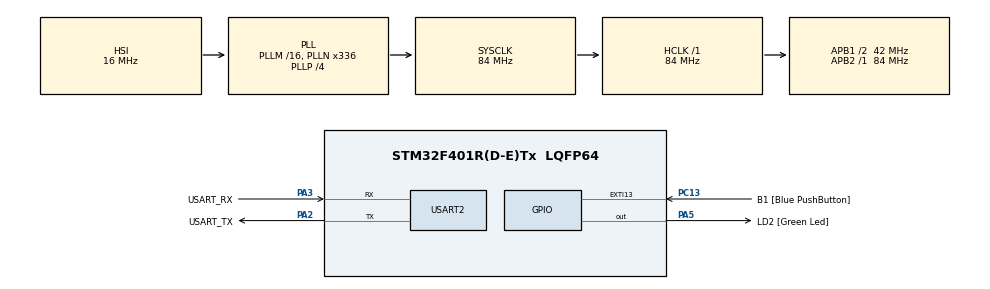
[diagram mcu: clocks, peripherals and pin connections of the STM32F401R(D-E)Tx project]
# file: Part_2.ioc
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Mcu.Family=STM32F4
Mcu.Name=STM32F401R(D-E)Tx
Mcu.Package=LQFP64
NVIC.EXTI15_10_IRQn=true\:0\:0\:false\:false\:true\:true\:true\:true
NVIC.PriorityGroup=NVIC_PRIORITYGROUP_0
NVIC.TIM1_UP_TIM10_IRQn=true\:0\:0\:false\:false\:true\:true\:true\:true
PA13.GPIO_Label=TMS
PA13.Mode=Serial_Wire
PA13.Signal=SYS_JTMS-SWDIO
PA14.GPIO_Label=TCK
PA14.Mode=Serial_Wire
PA14.Signal=SYS_JTCK-SWCLK
PA2.GPIO_Label=USART_TX
PA2.GPIO_Mode=GPIO_MODE_AF_PP
PA2.GPIO_PuPd=GPIO_NOPULL
PA2.GPIO_Speed=GPIO_SPEED_FREQ_LOW
PA2.Mode=Asynchronous
PA2.Signal=USART2_TX
PA3.GPIO_Label=USART_RX
PA3.GPIO_Mode=GPIO_MODE_AF_PP
PA3.GPIO_PuPd=GPIO_NOPULL
PA3.GPIO_Speed=GPIO_SPEED_FREQ_LOW
PA3.Mode=Asynchronous
PA3.Signal=USART2_RX
PA5.GPIO_Label=LD2 [Green Led]
PA5.GPIO_Mode=GPIO_MODE_OUTPUT_PP
PA5.GPIO_PuPd=GPIO_NOPULL
PA5.GPIO_Speed=GPIO_SPEED_FREQ_LOW
PA5.Signal=GPIO_Output
PB3.GPIO_Label=SWO
PB3.Signal=SYS_JTDO-SWO
PC13-ANTI_TAMP.GPIO_Label=B1 [Blue PushButton]
PC13-ANTI_TAMP.GPIO_ModeDefaultEXTI=GPIO_MODE_IT_FALLING
PC13-ANTI_TAMP.GPIO_PuPd=GPIO_NOPULL
PC13-ANTI_TAMP.Signal=GPXTI13
PC14-OSC32_IN.Mode=LSE-External-Oscillator
PC14-OSC32_IN.Signal=RCC_OSC32_IN
PC15-OSC32_OUT.Mode=LSE-External-Oscillator
PC15-OSC32_OUT.Signal=RCC_OSC32_OUT
PH0\ -\ OSC_IN.Mode=HSE-External-Clock-Source
PH0\ -\ OSC_IN.Signal=RCC_OSC_IN
PH1\ -\ OSC_OUT.Mode=HSE-External-Clock-Source
PH1\ -\ OSC_OUT.Signal=RCC_OSC_OUT
ProjectManager.HeapSize=0x200
ProjectManager.StackSize=0x400
ProjectManager.TargetToolchain=STM32CubeIDE
RCC.48MHZClocksFreq_Value=48000000
RCC.AHBFreq_Value=84000000
RCC.APB1CLKDivider=RCC_HCLK_DIV2
RCC.APB1Freq_Value=42000000
RCC.APB1TimFreq_Value=84000000
RCC.APB2Freq_Value=84000000
RCC.APB2TimFreq_Value=84000000
RCC.CortexFreq_Value=84000000
RCC.HCLKFreq_Value=84000000
RCC.HSE_VALUE=8000000
RCC.HSI_VALUE=16000000
RCC.PLLN=336
RCC.PLLP=RCC_PLLP_DIV4
RCC.PLLQ=7
RCC.SYSCLKFreq_VALUE=84000000
RCC.SYSCLKSource=RCC_SYSCLKSOURCE_PLLCLK
RCC.VCOOutputFreq_Value=336000000
TIM10.Period=267
TIM10.Prescaler=60000
USART2.VirtualMode=VM_ASYNC
VP_TIM10_VS_ClockSourceINT.Mode=Enable_Timer
board=NUCLEO-F401RE

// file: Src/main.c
/* USER CODE BEGIN Header */
/**
  ******************************************************************************
  * @file           : main.c
  * @brief          : Main program body
  ******************************************************************************
  * @attention
  *
  * Copyright (c) 2024 STMicroelectronics.
  * All rights reserved.
  *
  * This software is licensed under terms that can be found in the LICENSE file
  * in the root directory of this software component.
  * If no LICENSE file comes with this software, it is provided AS-IS.
  *
  ******************************************************************************
  */
/* USER CODE END Header */
#include "main.h"
#include "tim.h"
#include "usart.h"
#include "gpio.h"

void SystemClock_Config(void);

/* USER CODE BEGIN 0 */
  /* Time selector variable */
  volatile char time_selector = 0;
/* USER CODE END 0 */

int main(void)
{

  /* MCU Configuration--------------------------------------------------------*/

  /* Reset of all peripherals, Initializes the Flash interface and the Systick. */
  HAL_Init();

  /* Configure the system clock */
  SystemClock_Config();

  /* Initialize all configured peripherals */
  MX_GPIO_Init();
  MX_USART2_UART_Init();
  MX_TIM10_Init();
  /* USER CODE BEGIN 2 */

  /* Start the TIM Base generation in interrupt mode */
  HAL_TIM_Base_Start_IT(&htim10);

  /* USER CODE END 2 */

  /* Infinite loop */
  while (1)
  {

  }
}

void SystemClock_Config(void)
{
  RCC_OscInitTypeDef RCC_OscInitStruct = {0};
  RCC_ClkInitTypeDef RCC_ClkInitStruct = {0};

  /** Configure the main internal regulator output voltage
  */
  __HAL_RCC_PWR_CLK_ENABLE();
  __HAL_PWR_VOLTAGESCALING_CONFIG(PWR_REGULATOR_VOLTAGE_SCALE2);

  /** Initializes the RCC Oscillators according to the specified parameters
  * in the RCC_OscInitTypeDef structure.
  */
  RCC_OscInitStruct.OscillatorType = RCC_OSCILLATORTYPE_HSI;
  RCC_OscInitStruct.HSIState = RCC_HSI_ON;
  RCC_OscInitStruct.HSICalibrationValue = RCC_HSICALIBRATION_DEFAULT;
  RCC_OscInitStruct.PLL.PLLState = RCC_PLL_ON;
  RCC_OscInitStruct.PLL.PLLSource = RCC_PLLSOURCE_HSI;
  RCC_OscInitStruct.PLL.PLLM = 16;
  RCC_OscInitStruct.PLL.PLLN = 336;
  RCC_OscInitStruct.PLL.PLLP = RCC_PLLP_DIV4;
  RCC_OscInitStruct.PLL.PLLQ = 7;
  if (HAL_RCC_OscConfig(&RCC_OscInitStruct) != HAL_OK)
  {
    Error_Handler();
  }

  /** Initializes the CPU, AHB and APB buses clocks
  */
  RCC_ClkInitStruct.ClockType = RCC_CLOCKTYPE_HCLK|RCC_CLOCKTYPE_SYSCLK
                              |RCC_CLOCKTYPE_PCLK1|RCC_CLOCKTYPE_PCLK2;
  RCC_ClkInitStruct.SYSCLKSource = RCC_SYSCLKSOURCE_PLLCLK;
  RCC_ClkInitStruct.AHBCLKDivider = RCC_SYSCLK_DIV1;
  RCC_ClkInitStruct.APB1CLKDivider = RCC_HCLK_DIV2;
  RCC_ClkInitStruct.APB2CLKDivider = RCC_HCLK_DIV1;

  if (HAL_RCC_ClockConfig(&RCC_ClkInitStruct, FLASH_LATENCY_2) != HAL_OK)
  {
    Error_Handler();
  }
}

/* USER CODE BEGIN 4 */
/**
  * @brief  Period elapsed callback in non blocking mode
  * @param  htim: TIM handle
  * @retval None
  */
void HAL_TIM_PeriodElapsedCallback(TIM_HandleTypeDef *htim)
{
    if (htim->Instance == htim10.Instance)
    {
        /* Toggle LED */
        HAL_GPIO_TogglePin(LD2_GPIO_Port, LD2_Pin);
    }
}
/* IMPORTANT NOTE: The clk freq of the timer is 84 MHz */
/**
* @brief EXTI line detection callbacks.
* @details Change the timer configuration to trigger an interrupt after 1, 2 or 10 seconds.
* @param GPIO_Pin Specifies the pins connected EXTI line
* @retval None
*/
void HAL_GPIO_EXTI_Callback(uint16_t GPIO_Pin){
  if(GPIO_Pin == B1_Pin){
    HAL_TIM_Base_Stop_IT(&htim10); //Stop timer
    time_selector = (time_selector!=2) ? time_selector + 1 : 0; //Update time selector
    switch (time_selector){
      case 0:
        __HAL_TIM_SET_AUTORELOAD(&htim10, 1292); //Set timer to 1s
      break;

      case 1:
        __HAL_TIM_SET_AUTORELOAD(&htim10, 2584); //Set timer to 2s
      break;

      case 2:
        __HAL_TIM_SET_AUTORELOAD(&htim10, 12920); //Set timer to 10s
      break;

      default:
        __HAL_TIM_SET_AUTORELOAD(&htim10, 1297); //Set timer to 1s
        time_selector = 0;
      break;
    }
    __HAL_TIM_SET_COUNTER(&htim10, 0); //Reset timer
    HAL_TIM_Base_Start_IT(&htim10); //Start timer
  }
}
/* USER CODE END 4 */

void Error_Handler(void)
{
  __disable_irq();
  while (1)
  {
  }
}
